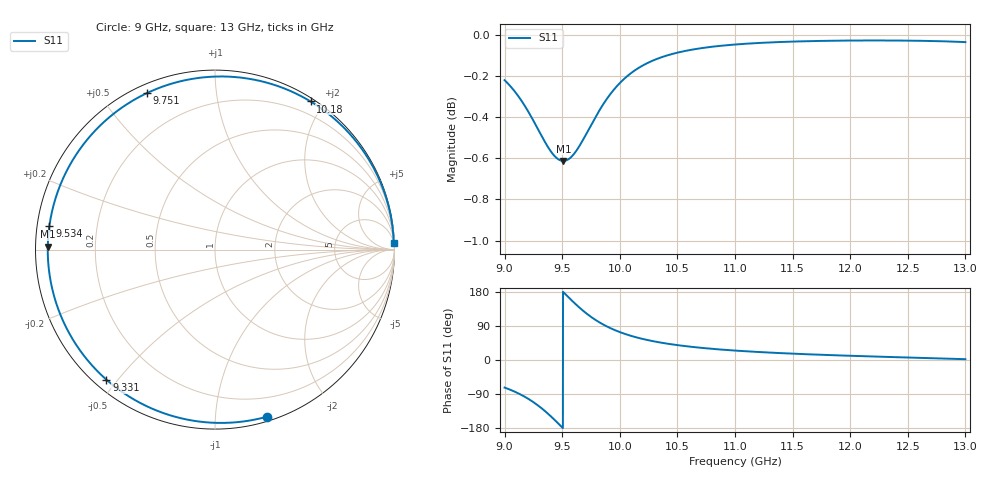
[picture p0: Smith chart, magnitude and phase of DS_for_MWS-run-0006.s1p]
! TOUCHSTONE file generated by CST DESIGN STUDIO
! Date and time: Tue Feb  4 16:21:49 2025
! Project name: C:\Work\MatlabApps\UnitCellOptimizationMatlab\CST\unitcell.cst
! Tree item: Tasks\Sweep1\SPara1\S-Parameters
! Header version: 2024
! Port assignment regex: !\s*Touchstone port\s*([0-9]+)\s*=\s*(CST MWS port|CST DES external port|CST DES block port)\s*(.+)\s* \(\"(.*)\"\)(\s*mode\s*([0-9]+))?.*
! Touchstone port assignment:
! Touchstone port 1 = CST DES external port 1 ("")
# GHz S MA R 50
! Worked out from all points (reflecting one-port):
!   4001 points, 9 GHz to 13 GHz, reference 50 ohm
!   lowest |S11| = -0.6 dB at 9.51 GHz (marker M1), VSWR 28.36, Z = 1.76 + j0.418 ohm
!   phase of S11 starts at -73 deg and turns -285 deg over the sweep
!   S11 on the Smith chart (normalised r, x): 9 GHz: 0.04, -1.36; 9.331 GHz: 0.04, -0.47; 9.534 GHz: 0.04, +0.07; 9.751 GHz: 0.04, +0.65; 10.18 GHz: 0.04, +1.84; 13 GHz: 6, +53
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9  0.975 -72.8
9.09  0.9687 -83.9
9.193  0.9593 -100.2
9.265  0.9514 -114.4
9.331  0.9439 -129.8
9.377  0.9391 -141.9
9.424  0.9351 -155.1
9.463  0.9329 -166.7
9.5  0.9319 -177.9
9.51  0.9319 179.0
9.534  0.9321 171.7
9.587  0.9345 155.9
9.647  0.9395 139.0
9.698  0.9448 125.9
9.751  0.9508 113.6
9.802  0.9564 103.3
9.858  0.9621 93.3
10  0.9734 73.7
10.085  0.9782 64.9
10.177  0.9822 57.2
10.324  0.9867 47.6
10.5  0.9901 39.3
10.722  0.9927 31.7
11  0.9946 24.9
11.5  0.9963 16.7
12  0.9968 11.1
12.5  0.9968 6.6
13  0.996 2.2
